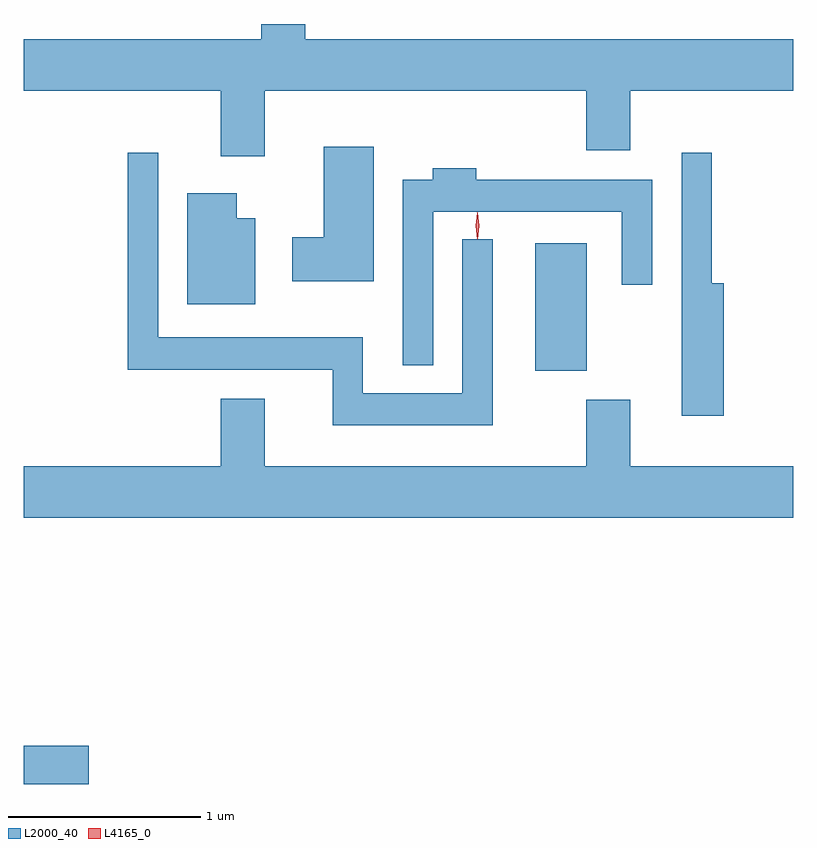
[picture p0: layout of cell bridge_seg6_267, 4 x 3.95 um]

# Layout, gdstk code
import gdstk
lib = gdstk.Library(unit=1e-6, precision=1e-09)
def R(c, l, rs):  # rectangles x0, y0, x1, y1
    for r in rs: c.add(gdstk.rectangle(r[:2], r[2:], *l))
def P(c, l, *ps):  # polygons
    for p in ps: c.add(gdstk.Polygon(p, *l))
L2000_40 = (2000, 40)
L4165_0 = (4165, 0)

bridge_seg6_267 = lib.new_cell('bridge_seg6_267')
R(bridge_seg6_267, L2000_40, [(1249.336,1553.091,1249.674,1553.289), (1251.996,1555.241,1252.264,1555.904)])
P(bridge_seg6_267, L2000_40, [(1250.589,1556.696),(1252.261,1556.696),(1252.261,1556.386),(1252.489,1556.386),(1252.489,1556.696),(1253.336,1556.696),(1253.336,1556.964),(1250.799,1556.964),(1250.799,1557.043),(1250.571,1557.043),(1250.571,1556.964),(1249.336,1556.964),(1249.336,1556.696),(1250.361,1556.696),(1250.361,1556.356),(1250.589,1556.356)],
  [(1251.154,1556.404),(1250.896,1556.404),(1250.896,1555.934),(1250.731,1555.934),(1250.731,1555.706),(1251.154,1555.706)],
  [(1252.974,1555.694),(1252.914,1555.694),(1252.914,1556.373),(1252.756,1556.373),(1252.756,1555.006),(1252.974,1555.006)],
  [(1251.774,1555.923),(1251.616,1555.923),(1251.616,1555.124),(1251.099,1555.124),(1251.099,1555.414),(1250.034,1555.414),(1250.034,1556.373),(1249.876,1556.373),(1249.876,1555.246),(1250.941,1555.246),(1250.941,1554.956),(1251.774,1554.956)],
  [(1251.464,1556.066),(1252.446,1556.066),(1252.446,1555.688),(1252.604,1555.688),(1252.604,1556.234),(1251.689,1556.234),(1251.689,1556.294),(1251.461,1556.294),(1251.461,1556.234),(1251.306,1556.234),(1251.306,1555.268),(1251.464,1555.268)],
  [(1250.539,1556.034),(1250.444,1556.034),(1250.444,1556.164),(1250.186,1556.164),(1250.186,1555.586),(1250.539,1555.586)],
  [(1253.336,1554.744),(1252.489,1554.744),(1252.489,1555.089),(1252.261,1555.089),(1252.261,1554.744),(1250.589,1554.744),(1250.589,1555.094),(1250.361,1555.094),(1250.361,1554.744),(1249.336,1554.744),(1249.336,1554.476),(1253.336,1554.476)])
P(bridge_seg6_267, L4165_0, [(1251.694,1555.924),(1251.685,1555.993),(1251.694,1556.062),(1251.694,1556.063),(1251.695,1556.062),(1251.705,1555.993),(1251.696,1555.924),(1251.695,1555.924)])

lib.write_gds('bridge_seg6_267.gds')
